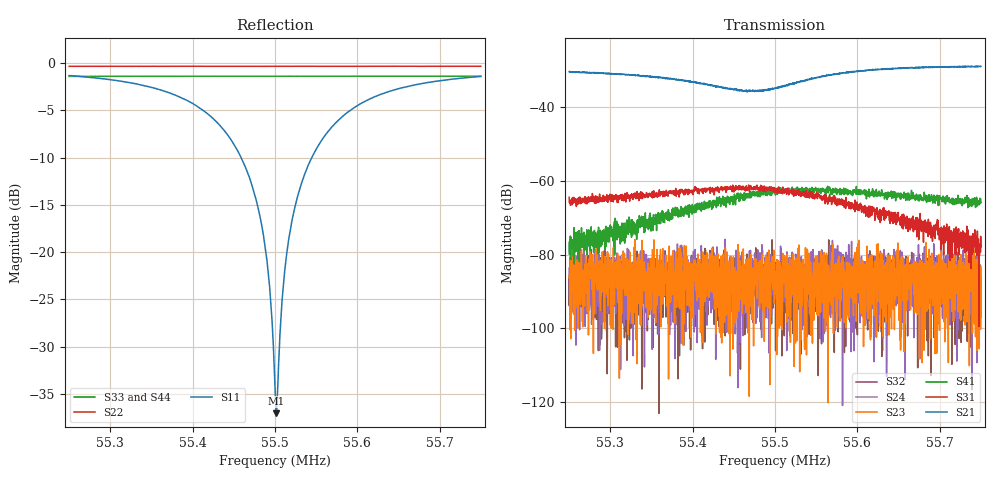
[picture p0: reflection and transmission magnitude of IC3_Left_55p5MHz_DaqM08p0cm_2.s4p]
#  HZ  S  DB  R  50.00
! Rohde & Schwarz Vector Network Analyzer
! Rohde-Schwarz,ZNB8-4Port,1311601044102961,2.82
! Created: UTC 2/13/2019, 9:41:44 AM
! freq[Hz]  db:S11  ang:S11  db:S12  ang:S12  db:S13  ang:S13  db:S14  ang:S14
!  db:S21  ang:S21  db:S22  ang:S22  db:S23  ang:S23  db:S24  ang:S24
!  db:S31  ang:S31  db:S32  ang:S32  db:S33  ang:S33  db:S34  ang:S34
!  db:S41  ang:S41  db:S42  ang:S42  db:S43  ang:S43  db:S44  ang:S44
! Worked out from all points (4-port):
!   2001 points, 55.25 MHz to 55.75 MHz, reference 50 ohm
!   strongest paths, dB at 55.25 MHz, 55.375 MHz, 55.5 MHz, 55.625 MHz, 55.75 MHz:
!     S21: -30.5, -32.4, -34.9, -29.9, -29.0
!     S31: -64.5, -63.3, -62.3, -68.7, -77.9
!     S41: -79.8, -67.8, -63.2, -64.0, -65.9
!     S23: -85.9, -90.6, -88.6, -77.1, -100.2
!     S24: -83.7, -90.9, -83.0, -86.0, -87.5
!     S32: -86.0, -91.8, -83.4, -87.6, -95.0
!   lowest |S11| = -37.1 dB at 55.5018 MHz (marker M1), VSWR 1.03, Z = 50.8 + j1.17 ohm
!   |S11| at or under -10 dB: 55.45889 MHz to 55.54461 MHz (85.71 kHz wide, 0.154 % of centre)
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5.525e7  -1.31 -132.7  -30.46 72.1  -65.44 -149.4  -81.27 -10.7
         -30.45 72.6  -0.33 94.1  -85.85 64.9  -83.69 -90.3
         -64.47 -147.3  -86.04 -0.4  -1.40 34.9  -92.76 64.7
         -79.81 -11.9  -85.73 49.0  -84.54 90.3  -1.38 28.5
5.54475e7  -8.22 173.7  -35.28 71.5  -62.87 171.1  -63.71 -29.7
           -35.20 71.1  -0.32 90.6  -83.04 -28.6  -90.46 144.6
           -62.22 169.8  -82.21 75.6  -1.38 32.5  -106.82 -56.9
           -65.02 -37.2  -81.47 111.3  -84.28 139.1  -1.38 26.1
5.548425e7  -17.35 151.7  -35.71 88.4  -62.30 156.9  -62.10 -51.1
            -35.58 89.4  -0.33 89.8  -80.99 42.5  -90.74 -5.1
            -61.46 150.4  -86.43 -86.5  -1.39 32.1  -101.71 158.2
            -63.41 -46.9  -92.70 162.4  -85.01 -46.2  -1.37 25.6
5.550175e7  -37.06 55.1  -34.89 95.6  -62.12 140.0  -62.55 -62.4
            -34.86 95.2  -0.33 89.5  -86.85 -150.7  -83.58 61.8
            -62.79 143.1  -89.27 -96.9  -1.38 31.9  -82.33 127.1
            -63.43 -55.5  -92.16 80.2  -87.97 19.8  -1.38 25.4
5.5519e7  -17.40 -34.8  -33.89 99.9  -63.98 139.7  -62.24 -62.0
          -33.71 100.7  -0.33 89.2  -88.44 -127.9  -88.83 42.5
          -62.61 134.5  -80.98 -0.6  -1.38 31.7  -84.54 -169.7
          -62.46 -65.8  -91.64 133.6  -90.18 95.4  -1.37 25.2
5.555575e7  -8.28 -57.1  -31.73 101.3  -64.14 121.0  -62.33 -81.4
            -31.89 101.6  -0.32 88.6  -85.36 -150.6  -90.49 79.3
            -64.02 118.1  -86.30 146.7  -1.38 31.2  -87.13 175.8
            -62.48 -83.3  -89.00 -77.8  -91.81 87.9  -1.37 24.7
5.575e7  -1.40 -110.2  -29.02 79.0  -73.33 83.3  -65.43 -122.0
         -29.04 78.9  -0.32 85.1  -100.17 -51.4  -87.53 -53.3
         -77.91 98.1  -95.01 -87.6  -1.37 28.9  -83.97 12.6
         -65.86 -126.2  -87.53 157.6  -84.16 -100.9  -1.37 22.3
